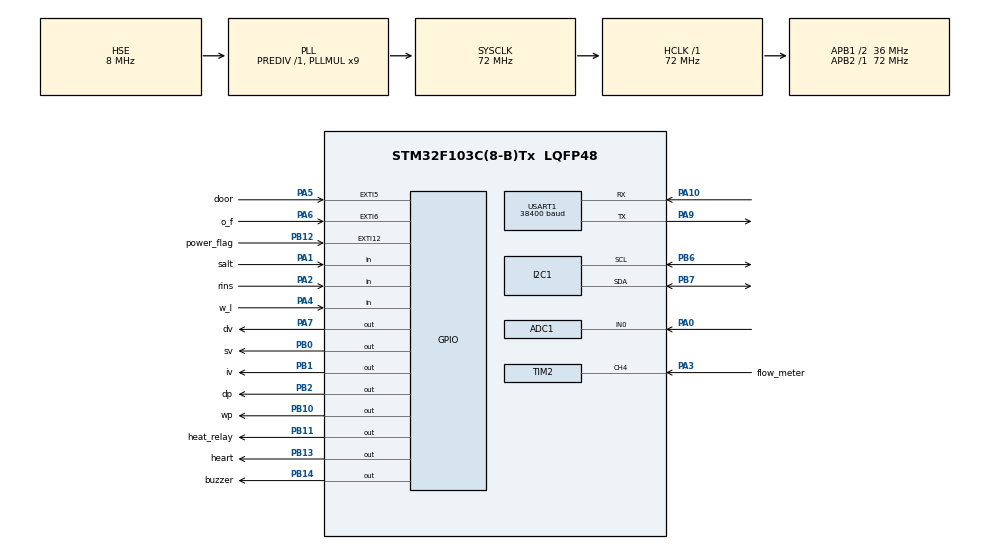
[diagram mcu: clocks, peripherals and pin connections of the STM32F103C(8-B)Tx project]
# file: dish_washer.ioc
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ADC1.Channel-3\#ChannelRegularConversion=ADC_CHANNEL_0
ADC1.ContinuousConvMode=ENABLE
ADC1.NbrOfConversion=1
ADC1.NbrOfConversionFlag=1
ADC1.Rank-3\#ChannelRegularConversion=1
ADC1.SamplingTime-3\#ChannelRegularConversion=ADC_SAMPLETIME_1CYCLE_5
ADC1.master=1
Mcu.Family=STM32F1
Mcu.Name=STM32F103C(8-B)Tx
Mcu.Package=LQFP48
NVIC.EXTI15_10_IRQn=true\:0\:0\:false\:false\:true\:true\:true
NVIC.EXTI9_5_IRQn=true\:0\:0\:false\:false\:true\:true\:true
NVIC.PriorityGroup=NVIC_PRIORITYGROUP_4
NVIC.TIM1_UP_IRQn=true\:0\:0\:false\:false\:true\:true\:true
NVIC.TIM2_IRQn=true\:0\:0\:false\:false\:true\:true\:true
NVIC.TIM3_IRQn=true\:0\:0\:false\:false\:true\:true\:true
NVIC.TIM4_IRQn=true\:0\:0\:false\:false\:true\:true\:true
NVIC.USART1_IRQn=true\:0\:0\:false\:false\:true\:true\:true
PA0-WKUP.Signal=ADCx_IN0
PA1.GPIO_Label=salt
PA1.Signal=GPIO_Input
PA10.Mode=Asynchronous
PA10.Signal=USART1_RX
PA13.Mode=Serial_Wire
PA13.Signal=SYS_JTMS-SWDIO
PA14.Mode=Serial_Wire
PA14.Signal=SYS_JTCK-SWCLK
PA2.GPIO_Label=rins
PA2.Signal=GPIO_Input
PA3.GPIO_Label=flow_meter
PA3.Signal=S_TIM2_CH4
PA4.GPIO_Label=w_l
PA4.GPIO_PuPd=GPIO_PULLUP
PA4.Signal=GPIO_Input
PA5.GPIO_Label=door
PA5.Signal=GPXTI5
PA6.GPIO_Label=o_f
PA6.GPIO_ModeDefaultEXTI=GPIO_MODE_IT_FALLING
PA6.GPIO_PuPd=GPIO_PULLUP
PA6.Signal=GPXTI6
PA7.GPIO_Label=dv
PA7.Signal=GPIO_Output
PA9.Mode=Asynchronous
PA9.Signal=USART1_TX
PB0.GPIO_Label=sv
PB0.Signal=GPIO_Output
PB1.GPIO_Label=iv
PB1.Signal=GPIO_Output
PB10.GPIO_Label=wp
PB10.Signal=GPIO_Output
PB11.GPIO_Label=heat_relay
PB11.Signal=GPIO_Output
PB12.GPIO_Label=power_flag
PB12.GPIO_ModeDefaultEXTI=GPIO_MODE_IT_RISING
PB12.GPIO_PuPd=GPIO_PULLUP
PB12.Signal=GPXTI12
PB13.GPIO_Label=heart
PB13.Signal=GPIO_Output
PB14.GPIO_Label=buzzer
PB14.Signal=GPIO_Output
PB2.GPIO_Label=dp
PB2.Signal=GPIO_Output
PB6.Mode=I2C
PB6.Signal=I2C1_SCL
PB7.Mode=I2C
PB7.Signal=I2C1_SDA
PD0-OSC_IN.Mode=HSE-External-Oscillator
PD0-OSC_IN.Signal=RCC_OSC_IN
PD1-OSC_OUT.Mode=HSE-External-Oscillator
PD1-OSC_OUT.Signal=RCC_OSC_OUT
ProjectManager.HeapSize=0x200
ProjectManager.StackSize=0x400
ProjectManager.TargetToolchain=MDK-ARM V5
RCC.ADCPresc=RCC_ADCPCLK2_DIV6
RCC.AHBFreq_Value=72000000
RCC.APB1CLKDivider=RCC_HCLK_DIV2
RCC.APB1Freq_Value=36000000
RCC.APB1TimFreq_Value=72000000
RCC.APB2Freq_Value=72000000
RCC.APB2TimFreq_Value=72000000
RCC.HCLKFreq_Value=72000000
RCC.PLLMUL=RCC_PLL_MUL9
RCC.PLLSourceVirtual=RCC_PLLSOURCE_HSE
RCC.SYSCLKFreq_VALUE=72000000
RCC.SYSCLKSource=RCC_SYSCLKSOURCE_PLLCLK
RCC.USBFreq_Value=72000000
SH.ADCx_IN0.0=ADC1_IN0,IN0
SH.S_TIM2_CH4.0=TIM2_CH4,Input_Capture4_from_TI4
TIM1.Period=5000
TIM1.Prescaler=7200
TIM2.Channel-Input_Capture4_from_TI4=TIM_CHANNEL_4
TIM3.Period=100
TIM3.Prescaler=7200
TIM4.Period=100
TIM4.Prescaler=720
USART1.BaudRate=38400
USART1.VirtualMode=VM_ASYNC
VP_TIM1_VS_ClockSourceINT.Mode=Internal
VP_TIM3_VS_ClockSourceINT.Mode=Internal
VP_TIM4_VS_ClockSourceINT.Mode=Internal
board=custom

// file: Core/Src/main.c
/* USER CODE BEGIN Header */
/**
  ******************************************************************************
  * @file           : main.c
  * @brief          : Main program body
  ******************************************************************************
  * @attention
  *
  * <h2><center>&copy; Copyright (c) 2021 STMicroelectronics.
  * All rights reserved.</center></h2>
  *
  * This software component is licensed by ST under BSD 3-Clause license,
  * the "License"; You may not use this file except in compliance with the
  * License. You may obtain a copy of the License at:
  *                        opensource.org/licenses/BSD-3-Clause
  *
  ******************************************************************************
  */
/* USER CODE END Header */
#include "main.h"
#include "adc.h"
#include "i2c.h"
#include "tim.h"
#include "usart.h"
#include "gpio.h"

/* USER CODE BEGIN PD */
#define buffer_size 100
#define eeprom_read_address 0xA0
#define eeprom_write_address 0xA0
#define flow_time_limit     120 //sec
#define temp_rise_time_limit 10 //min

#define Pred_Time_1 2*60+49
#define Pred_Time_2 2*60+58
#define Pred_Time_3 2*60+27
#define Pred_Time_4 1*60
#define Pred_Time_5 36
#define Pred_Time_6 11
#define NumOfTimers 5
#define FlowPulsesReq 3000
/* USER CODE END PD */

/* USER CODE BEGIN PV */
uint16_t Pred_Time[6]={Pred_Time_1,Pred_Time_2,Pred_Time_3,Pred_Time_4,Pred_Time_5,Pred_Time_6};
uint8_t SavedInformation[20];
uint16_t temp_arr[1];
int flow_meter_count, door, o_f;
uint8_t rec_data[1];
uint8_t inputSerial[64];
int level, count, sizes, checksum, LM, CounterParser;
uint8_t Data_Sending[64];
int Count_Send;
uint16_t adc_buffer[buffer_size];
float adc_avg_buffer[4];
int adc_count;
float sum_adc;
float adc_temp;
int tim3_flag, tim4_flag;
int level_work;
float temp;
int door_count, o_f_count;
struct {
  int counter_value;
  int counter_Enable;
} counters[NumOfTimers];
int counter, counter_flag, counter_1,counter_flag_1,counter_2,counter_flag_2,fcn_done;
int temp_offset;
struct serial_com_info
{
	int req;
	int grant;
	int status;
	int value;
}test_mode,main_mode,power_off,start_info,selecting_button,pill,Timer,WhaterHardness;
struct Error_st
{
	int opened_door_e1;
	int inlet_water_e2;
	int drain_alarm_e3;
	int sensor_alarm_e4;
	int overflow_e5;
	int water_leackge_e6;
	int heater_alarm_e7;
} Error;
int o_f_flag,o_f_time,o_f_count_flag;
int reset_device_req;
int reset_errors_req;
uint8_t done_flag_1;
uint8_t done_flag_2;
int WashingTime;
int buzzer_flag;
int buzzer_flag_count;
int Seg_Value;
int washing_state,dry_state,mode_done,wait_flag,wait_time;
int limit=20;
int pwr,pwr_1,pwr_2,max_pwr;
/* USER CODE END PV */

void SystemClock_Config(void);
/* USER CODE BEGIN PFP */
void send_to_display(void);
void protocolParser(void);
void sendProtocol(UART_HandleTypeDef *huart, uint8_t command, uint8_t *Input_Data, uint8_t inSize);
float adc_sort(uint16_t *adc_arr, int size);
float adc2temp(float x);
uint8_t test_fcn(int n);
void reset_all(void);
void checking_main_errors(void);
int error_handle_task(void);
void reset_errors(void);
int num_of_error(void);
int get_water_level(void);
int get_over_flow_status(void);
int get_door_status(void);
void convert_data(void);
void init_config(void);
void Calc_Temp(void);
uint8_t TakeTheWater(int FlowMeterPulsesRequired,int TimeOut,int TimerNum,int Error_Checking);
uint8_t TakeTheDispenser(int TimeOut,int TimerNum);
uint8_t DoTheWashing(int TimeOut,int TimerNum);
uint8_t BringTheWaterTemperatureToTheSpecifiedValue(int TempSetPoint,int TimeOut,int TimerNum);
uint8_t DrainTheWater(int TimeOut,int TimerNum);
uint8_t AddSaltWater(int TimeOut,int TimerNum);
uint8_t GenerateBuzzerSound(int NumOfSounds,int TimerNum);
uint8_t Wait(int TimeOut,int TimerNum);
void StartTimer(int TimerNum);
void StopTimer(int TimerNum);
void ResetTimer(int TimerNum);
int GetTimerValue(int TimerNum);
int GetTimerCount(int TimerNum);
void OpenInletValve(void);
void CloseInletValve(void);
void OpenDispenserValve(void);
void CloseDispenserValve(void);
void OpenSaltValve(void);
void CloseSaltValve(void);
void TurnOnTheWashingPump(void);
void TurnOffTheWashingPump(void);
void TurnOnHeater(void);
void TurnOffHeater(void);
void TurnOnTheDrainPump(void);
void TurnOffTheDrainPump(void);
float GetWaterTemp(void);
void TurnOnBuzzer(void);
void TurnOffBuzzer(void);
void ResetTimers(void);
void ProcessMain(int ProgramNum);
void beep(void);
void SetTimeValue(int TimerNum,int SetTimeValue);
void main_program_1(void);
void main_program_2(void);
void main_program_3(void);
void main_program_4(void);
void main_program_5(void);
void main_program_6(void);
/* USER CODE END PFP */

int main(void)
{

  /* MCU Configuration--------------------------------------------------------*/

  /* Reset of all peripherals, Initializes the Flash interface and the Systick. */
  HAL_Init();

  /* Configure the system clock */
  SystemClock_Config();

  /* Initialize all configured peripherals */
  MX_GPIO_Init();
  MX_ADC1_Init();
  MX_I2C1_Init();
  MX_USART1_UART_Init();
  MX_TIM3_Init();
  MX_TIM4_Init();
  MX_TIM2_Init();
  MX_TIM1_Init();
  /* USER CODE BEGIN 2 */
	init_config();
  /* USER CODE END 2 */

  /* Infinite loop */
  /* USER CODE BEGIN WHILE */
  while (1)
  {
		if(Error.opened_door_e1 && get_door_status())
		{
			Error.opened_door_e1=0;
			wait_flag=1;
		}
    if(Timer.status && (start_info.status==1))
    {
      wait_flag=2;
      if(Wait(60*60,1))
      {
				Timer.value--;
      }
			if(Timer.value==0)
			{
				Timer.status=0;
        wait_flag=0;
				ResetTimer(3);
			}
    }
		checking_main_errors();
		reset_device_req=error_handle_task();
		if(reset_errors_req)
			reset_errors();
		if(num_of_error()==0)
		{
			if(test_mode.status)
			{
				if(start_info.status==1)
					if(fcn_done==0)
						if(test_fcn(test_mode.value))
							fcn_done=1;
				if(selecting_button.status && selecting_button.grant==0)
				{
					if(test_mode.value!=selecting_button.value)
						fcn_done=0;
					reset_all();
					ResetTimers();
					test_mode.value=selecting_button.value;
					selecting_button.status=0;
				}
			}
			else if(main_mode.status)
			{
				Seg_Value=Pred_Time[main_mode.value-1]-GetTimerValue(3)/60;
				if(start_info.status==1)
				{
					if(get_door_status()==0)
					{
						Error.opened_door_e1=1;
					}
					if(wait_flag==0)
						ProcessMain(main_mode.value);
				}
				else if(start_info.status==0)
				{
					reset_all();
				}
				else if(start_info.status==2)
				{
					reset_all();
					//level_work=0;
				}
				if(selecting_button.status && selecting_button.grant==0)
				{
					Timer.status=0;
					Timer.value=0;
					main_mode.value=selecting_button.value;
					selecting_button.status=0;
					level_work=0;
					mode_done=0;
				}
		}
	}
  if(CounterParser>0)
  {
    protocolParser();
    convert_data();
    CounterParser--;
  }

  if (tim3_flag)
  {
    Calc_Temp();
    tim3_flag = 0;
  }
	if(buzzer_flag)
	{
		beep();
		buzzer_flag=0;
	}
    /* USER CODE END WHILE */

  }
}

void SystemClock_Config(void)
{
  RCC_OscInitTypeDef RCC_OscInitStruct = {0};
  RCC_ClkInitTypeDef RCC_ClkInitStruct = {0};
  RCC_PeriphCLKInitTypeDef PeriphClkInit = {0};

  /** Initializes the RCC Oscillators according to the specified parameters
  * in the RCC_OscInitTypeDef structure.
  */
  RCC_OscInitStruct.OscillatorType = RCC_OSCILLATORTYPE_HSE;
  RCC_OscInitStruct.HSEState = RCC_HSE_ON;
  RCC_OscInitStruct.HSEPredivValue = RCC_HSE_PREDIV_DIV1;
  RCC_OscInitStruct.HSIState = RCC_HSI_ON;
  RCC_OscInitStruct.PLL.PLLState = RCC_PLL_ON;
  RCC_OscInitStruct.PLL.PLLSource = RCC_PLLSOURCE_HSE;
  RCC_OscInitStruct.PLL.PLLMUL = RCC_PLL_MUL9;
  if (HAL_RCC_OscConfig(&RCC_OscInitStruct) != HAL_OK)
  {
    Error_Handler();
  }
  /** Initializes the CPU, AHB and APB buses clocks
  */
  RCC_ClkInitStruct.ClockType = RCC_CLOCKTYPE_HCLK|RCC_CLOCKTYPE_SYSCLK
                              |RCC_CLOCKTYPE_PCLK1|RCC_CLOCKTYPE_PCLK2;
  RCC_ClkInitStruct.SYSCLKSource = RCC_SYSCLKSOURCE_PLLCLK;
  RCC_ClkInitStruct.AHBCLKDivider = RCC_SYSCLK_DIV1;
  RCC_ClkInitStruct.APB1CLKDivider = RCC_HCLK_DIV2;
  RCC_ClkInitStruct.APB2CLKDivider = RCC_HCLK_DIV1;

  if (HAL_RCC_ClockConfig(&RCC_ClkInitStruct, FLASH_LATENCY_2) != HAL_OK)
  {
    Error_Handler();
  }
  PeriphClkInit.PeriphClockSelection = RCC_PERIPHCLK_ADC;
  PeriphClkInit.AdcClockSelection = RCC_ADCPCLK2_DIV6;
  if (HAL_RCCEx_PeriphCLKConfig(&PeriphClkInit) != HAL_OK)
  {
    Error_Handler();
  }
}

/* USER CODE BEGIN 4 */
void HAL_TIM_PeriodElapsedCallback(TIM_HandleTypeDef *htim)
{
  if (htim == &htim1)
  {
		send_to_display();
    HAL_GPIO_TogglePin(heart_GPIO_Port, heart_Pin);

    for(int i=0;i<NumOfTimers;i++)
    {
      if(counters[i].counter_Enable==1)
        counters[i].counter_value++;
      else if(counters[i].counter_Enable==-1 || counters[i].counter_Enable==255)
        counters[i].counter_Enable=0;

    }
		if(buzzer_flag_count<2)
			buzzer_flag_count++;
    counters[2].counter_Enable=(counters[0].counter_Enable==1) || (counters[1].counter_Enable==1);
		if(wait_flag)
			wait_time++;
		if(wait_time>=10 && wait_flag==1)
		{
			wait_flag=0;
			wait_time=0;
		}
  }
  if (htim == &htim3)
  {
		if(o_f_flag)
			o_f_time++;
		o_f_count_flag=1;
		if(o_f_time>=20)
		{
			o_f=o_f_count>8;
			o_f_flag=(o_f)?1:0;
			o_f_time=0;
			o_f_count=0;
		}

    if (door_count < 26)
      door_count++;

    if (door_count < 20 )
      door = 1;
    else
      door = 0;

    tim3_flag = 1;
  }
	if(htim == &htim4)
	{
		pwr_1++;
		pwr_2+=HAL_GPIO_ReadPin(power_flag_GPIO_Port,power_flag_Pin);
		if(pwr_1>=40)
		{
			pwr_1=0;
			pwr=pwr_2;
			pwr_2=0;
			if(pwr>=35)
			{
				if(main_mode.status==1)
				{
					SavedInformation[0]=main_mode.status;
					SavedInformation[1]=main_mode.value;
					SavedInformation[2]=start_info.status;
					SavedInformation[3]=level_work;
					SavedInformation[4]=counters[2].counter_value;
					SavedInformation[5]=counters[2].counter_value>>8;
					SavedInformation[6]=counters[0].counter_value;
					SavedInformation[7]=counters[0].counter_value>>8;
					SavedInformation[8]=flow_meter_count;
					SavedInformation[9]=flow_meter_count>>8;
					SavedInformation[10]=WhaterHardness.status;
					HAL_I2C_Mem_Write(&hi2c1,eeprom_write_address,8,I2C_MEMADD_SIZE_16BIT,SavedInformation,11,HAL_MAX_DELAY);
				}
			}
		}
	}
}
void HAL_TIM_IC_CaptureCallback(TIM_HandleTypeDef *htim)
{
  if (htim == &htim2)
    flow_meter_count++;
}
void HAL_UART_RxCpltCallback(UART_HandleTypeDef *huart)
{
  if (huart == &huart1)
  {
    inputSerial[count] = rec_data[0];
    if (inputSerial[0] == 0x5A && level == 0)
    {
      count++;
      if (count > 1)
        level = 1;
    }
    else if (inputSerial[0] != 0x5A && level == 0)
    {
      count = 0;
      level = 0;
    }
    else if (level == 1 && inputSerial[1] == 0xA5)
    {
      count++;
      if (count > 2)
        level = 2;
    }
    else if (level == 1 && inputSerial[1] != 0xA5)
    {
      count = 0;
      level = 0;
    }
    else if (level == 2)
    {
      sizes = inputSerial[3] + 5;
      if (sizes < 32 && sizes > 0)
      {
        count++;
        if (count > 3)
          level = 3;
      }
      else
      {
        count = 0;
        level = 0;
        sizes = 0;
      }
    }
    else if (level == 3)
      count++;
    if (count == sizes && level == 3)
    {
      checksum = 0;
      for (LM = 2; LM < (sizes - 1); LM++)
        checksum += inputSerial[LM];
      if (checksum == inputSerial[sizes - 1])
      {
        CounterParser++;
      }
      else
      {
        for (LM = 0; LM < sizes; LM++)
          inputSerial[LM] = 0;
      }
      count = 0;
      level = 0;
      sizes = 0;
    }
    HAL_UART_Receive_IT(&huart1, rec_data, 1);
  }
}
void HAL_GPIO_EXTI_Callback(uint16_t GPIO_Pin)
{
  if (GPIO_Pin == door_Pin)
  {
    door_count = 0;
  }
  if (GPIO_Pin == o_f_Pin)
  {
		if(o_f_count_flag)
			o_f_count++;
		o_f_count_flag=0;
		o_f_flag=1;
  }
}
void sendProtocol(UART_HandleTypeDef *huart, uint8_t command, uint8_t *Input_Data, uint8_t inSize)
{
  uint8_t Send_Serial[64], m, size;
  size = inSize + 5;
  Send_Serial[0] = 0x5A;
  Send_Serial[1] = 0xA5;
  Send_Serial[2] = command;
  Send_Serial[3] = inSize;
  Send_Serial[4 + inSize] = Send_Serial[2] + Send_Serial[3];
  for (m = 0; m < inSize; m++)
  {
    Send_Serial[4 + m] = Input_Data[m];
    Send_Serial[4 + inSize] += Input_Data[m];
  }
  HAL_UART_Transmit(huart, Send_Serial, size, 200);
}
void send_to_display(void)
{
	Data_Sending[Count_Send++] = test_mode.grant;
	Data_Sending[Count_Send++] = test_mode.status;
	Data_Sending[Count_Send++] = test_mode.value;
	Data_Sending[Count_Send++] = main_mode.grant;
	Data_Sending[Count_Send++] = main_mode.status;
	Data_Sending[Count_Send++] = main_mode.value;
	Data_Sending[Count_Send++] = power_off.grant;
	Data_Sending[Count_Send++] = power_off.status;
	Data_Sending[Count_Send++] = start_info.grant;
	Data_Sending[Count_Send++] = start_info.status;
	Data_Sending[Count_Send++] = selecting_button.grant;
	Data_Sending[Count_Send++] = selecting_button.status;
	Data_Sending[Count_Send++] = num_of_error();
	Data_Sending[Count_Send++] = Seg_Value;
  Data_Sending[Count_Send++] = HAL_GPIO_ReadPin(rins_GPIO_Port, rins_Pin);
  Data_Sending[Count_Send++] = HAL_GPIO_ReadPin(salt_GPIO_Port, salt_Pin);
	Data_Sending[Count_Send++] = washing_state;
	Data_Sending[Count_Send++] = dry_state;
  Data_Sending[Count_Send++] = mode_done;
  Data_Sending[Count_Send++] = Timer.grant;
  Data_Sending[Count_Send++] = Timer.status;
  Data_Sending[Count_Send++] = Timer.value;
  Data_Sending[Count_Send++] = WhaterHardness.grant;
  Data_Sending[Count_Send++] = WhaterHardness.status;
  Data_Sending[Count_Send++] = temp;

  sendProtocol(&huart1, 0, Data_Sending, Count_Send);
  Count_Send = 0;
  test_mode.grant=0;
	main_mode.grant=0;
	power_off.grant=0;
	start_info.grant=0;
	selecting_button.grant=0;
  Timer.grant=0;
  WhaterHardness.grant=0;
}
void protocolParser(void)
{
	int index=4;
	test_mode.req=inputSerial[index++];
	main_mode.req=inputSerial[index++];
	power_off.req=inputSerial[index++];
	power_off.value=inputSerial[index++];
	start_info.req=inputSerial[index++];
	start_info.value=inputSerial[index++];
	selecting_button.req=inputSerial[index++];
	selecting_button.value=inputSerial[index++];
	pill.req=inputSerial[index++];
  Timer.req=inputSerial[index++];
  WhaterHardness.req=inputSerial[index++];
  WhaterHardness.value=inputSerial[index++];
}
float adc_sort(uint16_t *adc_arr, int size)
{
  int arr_i, arr_j;
  for (arr_i = 0; arr_i < size - 1; arr_i++)
  {
    for (arr_j = 0; arr_j < size - arr_i - 1; arr_j++)
    {
      if (adc_arr[arr_j] > adc_arr[arr_j + 1])
      {
        adc_arr[arr_j] = adc_arr[arr_j] + adc_arr[arr_j + 1];
        adc_arr[arr_j + 1] = adc_arr[arr_j] - adc_arr[arr_j + 1];
        adc_arr[arr_j] = adc_arr[arr_j] - adc_arr[arr_j + 1];
      }
    }
  }
  return (adc_arr[size / 2 - 2] + adc_arr[size / 2 - 1] + adc_arr[size / 2 - 0] + adc_arr[size / 2 + 1]) * 0.25;
}
float adc2temp(float x)
{
  return 0.0163 * x + 7.8059 + temp_offset;
}
uint8_t test_fcn(int n)
{
	if(get_door_status()==0)
	{
		Error.opened_door_e1=1;
	}
	else
		Error.opened_door_e1=0;
	if(num_of_error()==0)
	{
    switch (n)
    {
    case 9:
      return TakeTheWater(FlowPulsesReq,flow_time_limit,1,1);
      break;
    case 8:
      return TakeTheDispenser(3,1);
      break;
    case 7:
      return DoTheWashing(30,1);
      break;
    case 6:
      return BringTheWaterTemperatureToTheSpecifiedValue(60,temp_rise_time_limit,1);
      break;
    case 5:
      return DrainTheWater(30,1);
      break;
    case 4:
      return TakeTheWater(FlowPulsesReq,flow_time_limit,1,1);
      break;
    case 3:
      return DoTheWashing(10,1);
      break;
    case 2:
      return AddSaltWater(90,1);
      break;
    case 1:
      return DrainTheWater(30,1);
      break;
    case 0:
    return GenerateBuzzerSound(2,1);
      break;
    default:
      return 0;
      break;
    }
  }
}
void reset_all(void)
{
  CloseInletValve();
  CloseDispenserValve();
  TurnOffTheDrainPump();
  TurnOffTheWashingPump();
  CloseSaltValve();
	StopTimer(1);
  StopTimer(2);
}
void ResetTimers(void)
{
	ResetTimer(1);
	ResetTimer(2);
}
void checking_main_errors(void)
{
	if(get_door_status() && get_over_flow_status()==1){
		Error.overflow_e5=1;
	}

	if(temp>80)
	{
		Error.sensor_alarm_e4=1;
	}

}
int error_handle_task(void)
{
	int ans=0;
	if(Error.opened_door_e1 || Error.inlet_water_e2 || Error.drain_alarm_e3 || Error.overflow_e5 || Error.sensor_alarm_e4 || Error.water_leackge_e6 || Error.heater_alarm_e7)
	{
		beep();
		reset_all();
		ans=1;
	}
	return (Error.overflow_e5 || Error.sensor_alarm_e4);
}
int num_of_error(void)
{
	if(Error.overflow_e5)
		return 5;
	if(Error.sensor_alarm_e4)
		return 4;
	if(Error.opened_door_e1)
		return 1;
	if(Error.inlet_water_e2)
		return 2;
	if(Error.drain_alarm_e3)
		return 3;
	if(Error.water_leackge_e6)
		return 6;
	if(Error.heater_alarm_e7)
		return 7;
	return 0;
}
void reset_errors(void)
{
	Error.drain_alarm_e3=0;
	Error.heater_alarm_e7=0;
	Error.inlet_water_e2=0;
	Error.water_leackge_e6=0;
	reset_errors_req=0;
}
int get_water_level(void)
{
	return (!HAL_GPIO_ReadPin(w_l_GPIO_Port,w_l_Pin));
}
int get_over_flow_status(void)
{
	return o_f;
}
int get_door_status(void)
{
	return door;
}
void convert_data(void)
{
	if(test_mode.req)
	{
		if(buzzer_flag_count==2)
		{
			buzzer_flag=1;
			buzzer_flag_count=0;
		}
		test_mode.status=1;
		test_mode.grant=1;
		test_mode.req=0;
	}
	if(main_mode.req)
	{
		if(buzzer_flag_count==2)
		{
			buzzer_flag=2;
			buzzer_flag_count=0;
		}
		main_mode.status=1;
		main_mode.grant=1;
		main_mode.req=0;
	}
	if(power_off.req)
	{
		if(buzzer_flag_count==2)
		{
			buzzer_flag=3;
			buzzer_flag_count=0;
		}
		power_off.status=power_off.value;
		power_off.grant=1;
		power_off.req=0;
		if(power_off.status)
		{
			test_mode.status=0;
			main_mode.status=0;
			start_info.status=0;
      Timer.status=0;
      Timer.value=0;
			washing_state=0;
			main_mode.value=2;
      level_work=0;
			reset_all();
			reset_errors();
			Error.opened_door_e1=0;
      ResetTimer(3);
		}
	}
	if(start_info.req)
	{
		if(buzzer_flag_count==2)
		{
			buzzer_flag=4;
			buzzer_flag_count=0;
		}
		start_info.status=start_info.value;
		start_info.grant=1;
		start_info.req=0;
		reset_errors();
	}
	if(selecting_button.req)
	{
		if(buzzer_flag_count==2)
		{
			buzzer_flag=5;
			buzzer_flag_count=0;
		}
		selecting_button.status=1;
		selecting_button.grant=1;
		selecting_button.req=0;
	}
  if(Timer.req)
  {
    if(buzzer_flag_count==2)
		{
			buzzer_flag=6;
			buzzer_flag_count=0;
      if(Timer.value<24)
      {
        Timer.status=1;
        Timer.value++;
      }
      else
      {
        Timer.status=0;
        Timer.value=0;
      }
		}
    Timer.grant=1;
    Timer.req=0;
  }
  if(WhaterHardness.req)
  {
    if(buzzer_flag_count==2)
		{
			buzzer_flag=7;
			buzzer_flag_count=0;
      WhaterHardness.status=WhaterHardness.value;
			SavedInformation[10]=WhaterHardness.status;
			HAL_I2C_Mem_Write(&hi2c1,eeprom_write_address,8,I2C_MEMADD_SIZE_16BIT,SavedInformation,11,HAL_MAX_DELAY);
    }
    WhaterHardness.grant=1;
    WhaterHardness.req=0;
  }
}
void init_config(void)
{
	HAL_I2C_Mem_Read(&hi2c1,eeprom_read_address,8,I2C_MEMADD_SIZE_16BIT,SavedInformation,20,HAL_MAX_DELAY);
	if(SavedInformation[0]==1)
	{
		main_mode.status          =  SavedInformation[0];
		main_mode.value           =  SavedInformation[1];
		start_info.status         =  SavedInformation[2];
		level_work                =  SavedInformation[3];
		counters[2].counter_value =  SavedInformation[4]+SavedInformation[5]*256;
		counters[0].counter_value =  SavedInformation[6]+SavedInformation[7]*256;
    flow_meter_count          =  SavedInformation[8]+SavedInformation[9]*256;
		for(int i=0;i<20;i++)
		{
			SavedInformation[i]=0;
		}
		HAL_Delay(10);
		HAL_I2C_Mem_Write(&hi2c1,eeprom_write_address,8,I2C_MEMADD_SIZE_16BIT,SavedInformation,20,HAL_MAX_DELAY);
	}
	else
	{
		main_mode.value=2;
		power_off.status=1;
		start_info.status=0;
	}
	if(SavedInformation[10]>=1 && SavedInformation[10]<=8)
		WhaterHardness.status=SavedInformation[10];
	else
		WhaterHardness.status=5;
	power_off.grant=1;
	start_info.grant=1;
	selecting_button.grant=1;
	Timer.grant=1;
	Timer.status=0;
	test_mode.grant=1;
	main_mode.grant=1;
	test_mode.value=9;
	HAL_ADC_Start(&hadc1);
  HAL_TIM_IC_Start_IT(&htim2, TIM_CHANNEL_4);
  HAL_TIM_Base_Start_IT(&htim3);
  HAL_TIM_Base_Start_IT(&htim4);
  HAL_TIM_Base_Start_IT(&htim1);
	HAL_UART_Receive_IT(&huart1, rec_data, 1);
	beep();
}
void Calc_Temp(void)
{
	sum_adc += HAL_ADC_GetValue(&hadc1);
	adc_count++;
	if (adc_count >= buffer_size)
	{
		adc_temp = sum_adc * 0.01;
		temp = adc2temp(adc_temp);
		adc_count = 0;
		sum_adc = 0;
	}
}
void ProcessMain(int ProgramNum)
{
  switch(ProgramNum)
    {
      case 1:
        main_program_1();
      break;
      case 2:
        main_program_2();
      break;
      case 3:
        main_program_3();
      break;
      case 4:
        main_program_4();
      break;
      case 5:
				main_program_5();
      break;
      case 6:
        main_program_6();
      break;
    }
}
void main_program_1(void)
{
  washing_state=(level_work!=-1) &&  (level_work<21) ;
  dry_state=(level_work>=21) && (level_work<35);
  if(level_work==0)
  {
    washing_state=1;
    StartTimer(3);
    if(Wait(10,1))
    {
      level_work=1;
    }
  }
  else if(level_work==1)
  {
    if(DrainTheWater(30,1))
    {
      level_work=2;
    }
  }
  else if(level_work==2)
  {
    switch(TakeTheWater(FlowPulsesReq,flow_time_limit,1,0))
    {
      case 1:
        level_work=3;
        break;
      case 2:
        level_work=-2;
        break;
    }
  }
  else if(level_work==-2)
  {
    if(DrainTheWater(30,4))
    {
      level_work=-3;
    }
  }
  else if(level_work==-3)
  {
    if(Wait(3*60,4))
    {
      level_work=-4;
    }
  }
  else if(level_work==-4)
  {
    switch(TakeTheWater(FlowPulsesReq,flow_time_limit,4,1))
    {
      case 1:
        level_work=3;
        break;
      case 2:
        break;
    }
  }
  else if(level_work==3)
  {
    if(DoTheWashing(10,1))
    {
      level_work=4;
      WashingTime=14*60-GetTimerValue(3);
    }
  }
  else if(level_work==4)
  {
    if(WashingTime==0)
    {
      WashingTime=14*60-GetTimerValue(3);
      ResetTimer(1);
    }
    if(BringTheWaterTemperatureToTheSpecifiedValue(40,WashingTime,1))
    {
      level_work=5;
      SetTimeValue(3,14*60);
      WashingTime=0;
    }
  }
  else if(level_work==5)
  {
    if(DoTheWashing(5*60,1))
    {
      level_work=6;
    }
  }
  else if(level_work==6)
  {
    if(DrainTheWater(30,1))
    {
      level_work=7;
    }
  }
  else if(level_work==7)
  {
    switch(TakeTheWater(FlowPulsesReq,flow_time_limit,1,0))
    {
      case 1:
        level_work=8;
        break;
      case 2:
        level_work=-7;
        break;
    }
  }
  else if(level_work==-7)
  {
    if(DrainTheWater(30,4))
    {
      level_work=-8;
    }
  }
  else if(level_work==-8)
  {
    if(Wait(3*60,4))
    {
      level_work=-9;
    }
  }
  else if(level_work==-9)
  {
    switch(TakeTheWater(FlowPulsesReq,flow_time_limit,4,1))
    {
      case 1:
        level_work=8;
        break;
      case 2:
        break;
    }
  }
  else if(level_work==8)
  {
    if(DoTheWashing(10,1))
    {
      level_work=9;
      WashingTime=20*60-(GetTimerValue(3)-(5+14)*60);
    }
  }
  else if(level_work==9)
  {
    if(WashingTime==0)
    {
      WashingTime=20*60-(GetTimerValue(3)-(5+14)*60);
      SetTimeValue(2,GetTimerValue(1));
      ResetTimer(1);
    }
    if(done_flag_1==0)
      done_flag_1=BringTheWaterTemperatureToTheSpecifiedValue(60,WashingTime,1);
    if(done_flag_2==0)
      done_flag_2=TakeTheDispenser(90,2);
    if(done_flag_1 && done_flag_2)
    {
      level_work=10;
      SetTimeValue(3,(14+5+20)*60);
      done_flag_2=0;
      done_flag_1=0;
      WashingTime=0;
    }
  }
  else if(level_work==10)
  {
    if(DoTheWashing(35*60,1))
    {
      level_work=11;
    }
  }
 else if(level_work==11)
  {
    if(DrainTheWater(30,1))
    {
      level_work=12;
    }
  }
  else if(level_work==12)
  {
    switch(TakeTheWater(FlowPulsesReq,flow_time_limit,1,0))
    {
      case 1:
        level_work=13;
        WashingTime=7*60-(GetTimerValue(3)-(35+20+5+14)*60);
        break;
      case 2:
        level_work=-12;
        break;
    }
  }
  else if(level_work==-12)
  {
    if(DrainTheWater(30,4))
    {
      level_work=-13;
    }
  }
  else if(level_work==-13)
  {
    if(Wait(3*60,4))
    {
      level_work=-14;
    }
  }
  else if(level_work==-14)
  {
    switch(TakeTheWater(FlowPulsesReq,flow_time_limit,4,1))
    {
      case 1:
        level_work=13;
        WashingTime=7*60-(GetTimerValue(3)-(35+20+5+14)*60);
        break;
      case 2:
        break;
    }
  }
  else if(level_work==13)
  {
    if(WashingTime==0)
    {
      ResetTimer(1);
      WashingTime=7*60-(GetTimerValue(3)-(35+20+5+14)*60);
    }
    if(DoTheWashing(WashingTime,1))
    {
      level_work=14;
      WashingTime=0;
    }
  }
  else if(level_work==14)
  {
    if(DrainTheWater(30,1))
    {
      level_work=15;
    }
  }
  else if(level_work==15)
  {
    switch(TakeTheWater(FlowPulsesReq,flow_time_limit,1,0))
    {
      case 1:
        level_work=16;
        WashingTime=7*60-(GetTimerValue(3)-(7+35+20+5+14)*60);
        break;
      case 2:
        level_work=-15;
        break;
    }
  }
  else if(level_work==-15)
  {
    if(DrainTheWater(30,4))
    {
      level_work=-16;
    }
  }
  else if(level_work==-16)
  {
    if(Wait(3*60,4))
    {
      level_work=-17;
    }
  }
  else if(level_work==-17)
  {
    switch(TakeTheWater(FlowPulsesReq,flow_time_limit,4,1))
    {
      case 1:
        level_work=16;
        WashingTime=7*60-(GetTimerValue(3)-(7+35+20+5+14)*60);
        break;
      case 2:
        break;
    }
  }
  else if(level_work==16)
  {
    if(WashingTime==0)
    {
      ResetTimer(1);
      WashingTime=7*60-(GetTimerValue(3)-(7+35+20+5+14)*60);
    }
    if(DoTheWashing(WashingTime,1))
    {
      level_work=17;
      WashingTime=0;
    }
  }
  else if(level_work==17)
  {
    if(DrainTheWater(30,1))
    {
      level_work=18;
    }
  }
  else if(level_work==18)
  {
    switch(TakeTheWater(FlowPulsesReq,flow_time_limit,1,0))
    {
      case 1:
        level_work=19;
        break;
      case 2:
        level_work=-18;
        break;
    }
  }
  else if(level_work==-18)
  {
    if(DrainTheWater(30,4))
    {
      level_work=-19;
    }
  }
  else if(level_work==-19)
  {
    if(Wait(3*60,4))
    {
      level_work=-20;
    }
  }
  else if(level_work==-20)
  {
    switch(TakeTheWater(FlowPulsesReq,flow_time_limit,4,1))
    {
      case 1:
        level_work=19;
        break;
      case 2:
        break;
    }
  }
  else if(level_work==19)
  {
    if(DoTheWashing(10,1))
    {
      level_work=20;
      WashingTime=23*60-(GetTimerValue(3)-(7+7+35+20+5+14)*60);
    }
  }
  else if(level_work==20)
  {
    if(WashingTime==0)
    {
      ResetTimer(1);
      WashingTime=23*60-(GetTimerValue(3)-(7+7+35+20+5+14)*60);
    }
    if(BringTheWaterTemperatureToTheSpecifiedValue(65,WashingTime,1))
    {
      level_work=21;
      SetTimeValue(3,(23+7+7+35+20+5+14)*60);
      WashingTime=0;
    }
  }
  else if(level_work==21)
  {
    if(DoTheWashing(1*60,1))
    {
      level_work=22;
      washing_state=0;
      dry_state=1;
    }
  }
  else if(level_work==22)
  {
    if(Wait(30,1))
    {
      level_work=23;
    }
  }
  else if(level_work==23)
  {
    if(DrainTheWater(30,1))
    {
      level_work=24;
    }
  }
  else if(level_work==24)
  {
    if(Wait(2*60+30,1))
    {
      level_work=25;
    }
  }
  else if(level_work==25)
  {
    if(DrainTheWater(30,1))
    {
      level_work=26;
    }
  }
  else if(level_work==26)
  {
    if(Wait(11*60+30,1))
    {
      level_work=27;
    }
  }
  else if(level_work==27)
  {
    if(DrainTheWater(30,1))
    {
      level_work=28;
    }
  }
  else if(level_work==28)
  {
    if(Wait(20*60+30,1))
    {
      level_work=29;
    }
  }
  else if(level_work==29)
  {
    if(DrainTheWater(30,1))
    {
      level_work=30;
    }
  }
  else if(level_work==30)
  {
    if(Wait(19*60+30,1))
    {
      level_work=31;
    }
  }
  else if(level_work==31)
  {
    if(DrainTheWater(30,1))
    {
      level_work=32;
    }
  }
    else if(level_work==32)
  {
    if(Wait(1*60,1))
    {
      level_work=33;
    }
  }
  else if(level_work==33)
  {
    if(DrainTheWater(60,1))
    {
      level_work=34;
    }
  }
  else if(level_work==34)
  {
    mode_done=1;
    if(GenerateBuzzerSound(4,1))
    {
      dry_state=0;
      level_work=-1;
      start_info.status=0;
			ResetTimer(3);
    }
  }
}
void main_program_2(void)
{
  washing_state=(level_work!=-1) &&  (level_work<13) ;
  dry_state=(level_work>=13) && (level_work<26);
  if(level_work==0)
  {
    washing_state=1;
    StartTimer(3);
    if(Wait(10,1))
    {
      level_work=1;
    }
  }
  else if(level_work==1)
  {
    if(DrainTheWater(30,1))
    {
      level_work=2;
    }
  }
  else if(level_work==2)
  {
    switch(TakeTheWater(FlowPulsesReq,flow_time_limit,1,0))
    {
      case 1:
        level_work=3;
	      WashingTime=26*60-GetTimerValue(3);
        break;
      case 2:
        level_work=-2;
        break;
    }
  }
    else if(level_work==-2)
    {
      if(DrainTheWater(30,4))
      {
        level_work=-3;
      }
    }
    else if(level_work==-3)
    {
      if(Wait(3*60,4))
      {
        level_work=-4;
      }
    }
    else if(level_work==-4)
    {
      switch(TakeTheWater(FlowPulsesReq,flow_time_limit,4,1))
      {
        case 1:
          level_work=3;
	        WashingTime=26*60-GetTimerValue(3);
          break;
        case 2:
          break;
      }
    }
  else if(level_work==3)
  {
    if(WashingTime==0)
    {
      WashingTime=26*60-GetTimerValue(3);
      ResetTimer(1);
    }
    if(DoTheWashing(WashingTime,1))
    {
      level_work=4;
      WashingTime=0;
    }
  }
  else if(level_work==4)
  {
    if(DrainTheWater(30,1))
    {
      level_work=5;
    }
  }
  else if(level_work==5)
  {
    switch(TakeTheWater(FlowPulsesReq,flow_time_limit,1,0))
    {
      case 1:
        level_work=6;
        break;
      case 2:
        level_work=-5;
        break;
    }
  }
    else if(level_work==-5)
    {
      if(DrainTheWater(30,4))
      {
        level_work=-6;
      }
    }
    else if(level_work==-6)
    {
      if(Wait(3*60,4))
      {
        level_work=-7;
      }
    }
    else if(level_work==-7)
    {
      switch(TakeTheWater(FlowPulsesReq,flow_time_limit,4,1))
      {
        case 1:
          level_work=6;
          break;
        case 2:
          break;
      }
  }
  else if(level_work==6)
  {
    if(DoTheWashing(10,1))
    {
      level_work=7;
      WashingTime=18*60-(GetTimerValue(3)-26*60);
    }
  }
  else if(level_work==7)
  {
    if(WashingTime==0)
    {
      WashingTime=18*60-(GetTimerValue(3)-26*60);
      SetTimeValue(2,GetTimerValue(1));
      ResetTimer(1);
    }
    if(done_flag_1==0)
      done_flag_1=BringTheWaterTemperatureToTheSpecifiedValue(45,WashingTime,1);
    if(done_flag_2==0)
      done_flag_2=TakeTheDispenser(90,2);
    if(done_flag_1 && done_flag_2)
    {
      level_work=8;
      SetTimeValue(3,(18+26)*60);
      done_flag_2=0;
      done_flag_1=0;
      WashingTime=0;
    }
  }
  else if(level_work==8)
  {
    if(DoTheWashing(60*60,1))
    {
      level_work=9;
    }
  }
   else if(level_work==9)
  {
    if(DrainTheWater(30,1))
    {
      level_work=10;
    }
  }

  else if(level_work==10)
  {
    switch(TakeTheWater(FlowPulsesReq,flow_time_limit,1,0))
    {
      case 1:
        level_work=11;
        break;
      case 2:
        level_work=-10;
        break;
    }
  }
    else if(level_work==-10)
    {
      if(DrainTheWater(30,4))
      {
        level_work=-11;
      }
    }
    else if(level_work==-11)
    {
      if(Wait(3*60,4))
      {
        level_work=-12;
      }
    }
    else if(level_work==-12)
    {
      switch(TakeTheWater(FlowPulsesReq,flow_time_limit,4,1))
      {
        case 1:
          level_work=11;
          break;
        case 2:
          break;
      }
  }
  else if(level_work==11)
  {
    if(DoTheWashing(10,1))
    {
      level_work=12;
      WashingTime=16*60-(GetTimerValue(3)-(60+18+26)*60);
    }
  }
  else if(level_work==12)
  {
    if(WashingTime==0)
    {
      WashingTime=16*60-(GetTimerValue(3)-(60+18+26)*60);
      ResetTimer(1);
    }
    if(BringTheWaterTemperatureToTheSpecifiedValue(60,WashingTime,1))
    {
      level_work=13;
      SetTimeValue(3,(16+60+18+26)*60);
      WashingTime=0;
    }
  }
  else if(level_work==13)
  {
    if(DoTheWashing(1*60,1))
    {
      level_work=14;
      washing_state=0;
      dry_state=1;
    }
  }
  else if(level_work==14)
  {
    if(DrainTheWater(30,1))
    {
      level_work=15;
    }
  }
  else if(level_work==15)
  {
    if(Wait(2*60+30,1))
    {
      level_work=16;
    }
  }
  else if(level_work==16)
  {
    if(DrainTheWater(30,1))
    {
      level_work=17;
    }
  }
  else if(level_work==17)
  {
    if(Wait(11*60+30,1))
    {
      level_work=18;
    }
  }
  else if(level_work==18)
  {
    if(DrainTheWater(30,1))
    {
      level_work=19;
    }
  }
  else if(level_work==19)
  {
    if(Wait(20*60+30,1))
    {
      level_work=20;
    }
  }
  else if(level_work==20)
  {
    if(DrainTheWater(30,1))
    {
      level_work=21;
    }
  }
  else if(level_work==21)
  {
    if(Wait(19*60+30,1))
    {
      level_work=22;
    }
  }
  else if(level_work==22)
  {
    if(DrainTheWater(30,1))
    {
      level_work=23;
    }
  }
  else if(level_work==23)
  {
    if(Wait(1*60,1))
    {
      level_work=24;
    }
  }
  else if(level_work==24)
  {
    if(DrainTheWater(60,1))
    {
      level_work=25;
    }
  }
  else if(level_work==25)
  {
    mode_done=1;
    if(GenerateBuzzerSound(4,1))
    {
      dry_state=0;
      level_work=-1;
      start_info.status=0;
			ResetTimer(3);
    }
  }
}
void main_program_3(void)
{
  washing_state=(level_work!=-1) &&  (level_work<17) ;
  dry_state=(level_work>=17) && (level_work<25);
  if(level_work==0)
  {
    washing_state=1;
    StartTimer(3);
    if(Wait(10,1))
    {
      level_work=1;
    }
  }
  else if(level_work==1)
  {
    if(DrainTheWater(30,1))
    {
      level_work=2;
    }
  }
  else if(level_work==2)
  {
    switch(TakeTheWater(FlowPulsesReq,flow_time_limit,1,0))
    {
      case 1:
        level_work=3;
         WashingTime=11*60-GetTimerValue(3);
        break;
      case 2:
        level_work=-2;
        break;
    }
  }
    else if(level_work==-2)
    {
      if(DrainTheWater(30,4))
      {
        level_work=-3;
      }
    }
    else if(level_work==-3)
    {
      if(Wait(3*60,4))
      {
        level_work=-4;
      }
    }
    else if(level_work==-4)
    {
      switch(TakeTheWater(FlowPulsesReq,flow_time_limit,4,1))
      {
        case 1:
          level_work=3;
          WashingTime=11*60-GetTimerValue(3);
          break;
        case 2:
          break;
      }
    }
  else if(level_work==3)
  {
    if(WashingTime==0)
    {
      WashingTime=11*60-GetTimerValue(3);
      ResetTimer(1);
    }
    if(DoTheWashing(WashingTime,1))
    {
      level_work=4;
      WashingTime=0;
    }
  }
  else if(level_work==4)
  {
    if(DrainTheWater(30,1))
    {
      level_work=5;
    }
  }
  else if(level_work==5)
  {
    switch(TakeTheWater(FlowPulsesReq,flow_time_limit,1,0))
    {
      case 1:
        level_work=6;
        break;
      case 2:
        level_work=-5;
        break;
    }
  }
    else if(level_work==-5)
    {
      if(DrainTheWater(30,4))
      {
        level_work=-6;
      }
    }
    else if(level_work==-6)
    {
      if(Wait(3*60,4))
      {
        level_work=-7;
      }
    }
    else if(level_work==-7)
    {
      switch(TakeTheWater(FlowPulsesReq,flow_time_limit,4,1))
      {
        case 1:
          level_work=6;
          break;
        case 2:
          break;
      }
    }
  else if(level_work==6)
  {
    if(DoTheWashing(10,1))
    {
      level_work=7;
      WashingTime=17*60-(GetTimerValue(3)-11*60);
    }
  }
  else if(level_work==7)
  {
    if(WashingTime==0)
    {
      WashingTime=17*60-(GetTimerValue(3)-11*60);
      SetTimeValue(2,GetTimerValue(1));
      ResetTimer(1);
    }
    if(done_flag_1==0)
      done_flag_1=BringTheWaterTemperatureToTheSpecifiedValue(45,WashingTime,1);
    if(done_flag_2==0)
      done_flag_2=TakeTheDispenser(90,2);
    if(done_flag_1 && done_flag_2)
    {
      level_work=8;
      SetTimeValue(3,(17+11)*60);
      done_flag_2=0;
      done_flag_1=0;
      WashingTime=0;
    }
  }
  else if(level_work==8)
  {
    if(DoTheWashing(40*60,1))
    {
      level_work=9;
    }
  }
  else if(level_work==9)
  {
    if(DrainTheWater(30,1))
    {
      level_work=10;
    }
  }
  else if(level_work==10)
  {
    switch(TakeTheWater(FlowPulsesReq,flow_time_limit,1,0))
    {
      case 1:
        level_work=12;
	      WashingTime=4*60-(GetTimerValue(3)-(40+17+11)*60);
        break;
      case 2:
        level_work=-10;
        break;
    }
  }
    else if(level_work==-10)
    {
      if(DrainTheWater(30,4))
      {
        level_work=-11;
      }
    }
    else if(level_work==-11)
    {
      if(Wait(3*60,4))
      {
        level_work=-12;
      }
    }
    else if(level_work==-12)
    {
      switch(TakeTheWater(FlowPulsesReq,flow_time_limit,4,1))
      {
        case 1:
          level_work=12;
	        WashingTime=4*60-(GetTimerValue(3)-(40+17+11)*60);
          break;
        case 2:
          break;
      }
  }
  else if(level_work==12)
  {
    if(WashingTime==0)
    {
      WashingTime=4*60-(GetTimerValue(3)-(40+17+11)*60);
      ResetTimer(1);
    }
    if(DoTheWashing(WashingTime,1))
    {
      level_work=13;
      WashingTime=0;
    }
  }
  else if(level_work==13)
  {
    if(DrainTheWater(30,1))
    {
      level_work=14;
    }
  }
  else if(level_work==14)
  {
    switch(TakeTheWater(FlowPulsesReq,flow_time_limit,1,0))
    {
      case 1:
        level_work=15;
        break;
      case 2:
        level_work=-14;
        break;
    }
  }
    else if(level_work==-14)
    {
      if(DrainTheWater(30,4))
      {
        level_work=-15;
      }
    }
    else if(level_work==-15)
    {
      if(Wait(3*60,4))
      {
        level_work=-16;
      }
    }
    else if(level_work==-16)
    {
      switch(TakeTheWater(FlowPulsesReq,flow_time_limit,4,1))
      {
        case 1:
          level_work=15;
          break;
        case 2:
          break;
      }
  }
  else if(level_work==15)
  {
    if(DoTheWashing(10,1))
    {
      level_work=16;
      WashingTime=16*60-(GetTimerValue(3)-(4+40+17+11)*60);
    }
  }
  else if(level_work==16)
  {
    if(WashingTime==0)
    {
      WashingTime=16*60-(GetTimerValue(3)-(4+40+17+11)*60);
      ResetTimer(1);
    }
    if(BringTheWaterTemperatureToTheSpecifiedValue(55,WashingTime,1))
    {
      level_work=17;
      SetTimeValue(3,(16+4+40+17+11)*60);
      WashingTime=0;
    }
  }
  else if(level_work==17)
  {
    if(DoTheWashing(1*60,1))
    {
      level_work=18;
      washing_state=0;
      dry_state=1;
    }
  }
  else if(level_work==18)
  {
    if(Wait(2*60+30,1))
    {
      level_work=19;
    }
  }
  else if(level_work==19)
  {
    if(DrainTheWater(30,1))
    {
      level_work=20;
    }
  }
  else if(level_work==20)
  {
    if(Wait(32*60+30,1))
    {
      level_work=21;
    }
  }
  else if(level_work==21)
  {
    if(DrainTheWater(30,1))
    {
      level_work=22;
    }
  }
    else if(level_work==22)
  {
    if(Wait(21*60,1))
    {
      level_work=23;
    }
  }
  else if(level_work==23)
  {
    if(DrainTheWater(60,1))
    {
      level_work=24;
    }
  }
  else if(level_work==24)
  {
    mode_done=1;
    if(GenerateBuzzerSound(4,1))
    {
      dry_state=0;
      level_work=-1;
      start_info.status=0;
			ResetTimer(3);
    }
  }

}
void main_program_4(void)
{
  washing_state=(level_work!=-1) &&  (level_work<15) ;
  dry_state=(level_work>=15) && (level_work<19);
  if(level_work==0)
  {
    StartTimer(3);
    if(Wait(10,1))
    {
      level_work=1;
    }
  }
  else if(level_work==1)
  {
    if(DrainTheWater(30,1))
    {
      level_work=2;
    }
  }
  else if(level_work==2)
  {
    switch(TakeTheWater(FlowPulsesReq,flow_time_limit,1,0))
    {
      case 1:
        level_work=3;
        break;
      case 2:
        level_work=-2;
        break;
    }
  }
    else if(level_work==-2)
    {
      if(DrainTheWater(30,4))
      {
        level_work=-3;
      }
    }
    else if(level_work==-3)
    {
      if(Wait(3*60,4))
      {
        level_work=-4;
      }
    }
    else if(level_work==-4)
    {
      switch(TakeTheWater(FlowPulsesReq,flow_time_limit,4,1))
      {
        case 1:
          level_work=3;
          break;
        case 2:
          break;
      }
    }
  else if(level_work==3)
  {
    if(DoTheWashing(10,1))
    {
      level_work=4;
      WashingTime=18*60-GetTimerValue(3);
    }
  }
  else if(level_work==4)
  {
    if(WashingTime==0)
    {
      WashingTime=18*60-GetTimerValue(3);
      ResetTimer(1);
    }
    if(BringTheWaterTemperatureToTheSpecifiedValue(50,WashingTime,1))
    {
      level_work=5;
      SetTimeValue(3,18*60);
      WashingTime=0;
    }
  }
  else if(level_work==5)
  {
    if(DoTheWashing(5*60,1))
    {
      level_work=6;
    }
  }
  else if(level_work==6)
  {
    if(DrainTheWater(30,1))
    {
      level_work=7;
    }
  }
  else if(level_work==7)
  {
    switch(TakeTheWater(FlowPulsesReq,flow_time_limit,1,0))
    {
      case 1:
        level_work=8;
        break;
      case 2:
        level_work=-7;
        break;
    }
  }
    else if(level_work==-7)
    {
      if(DrainTheWater(30,4))
      {
        level_work=-8;
      }
    }
    else if(level_work==-8)
    {
      if(Wait(3*60,4))
      {
        level_work=-9;
      }
    }
    else if(level_work==-9)
    {
      switch(TakeTheWater(FlowPulsesReq,flow_time_limit,4,1))
      {
        case 1:
          level_work=8;
          break;
        case 2:
          break;
      }
  }

  else if(level_work==8)
  {
    if(DoTheWashing(10,1))
    {
      level_work=9;
      WashingTime=10*60-(GetTimerValue(3)-23*60);
    }
  }
  else if(level_work==9)
  {
    if(WashingTime==0)
    {
      WashingTime=10*60-(GetTimerValue(3)-23*60);
      SetTimeValue(2,GetTimerValue(1));
      ResetTimer(1);
    }
    if(done_flag_1==0)
      done_flag_1=BringTheWaterTemperatureToTheSpecifiedValue(40,WashingTime,1);
    if(done_flag_2==0)
      done_flag_2=TakeTheDispenser(90,2);
    if(done_flag_1 && done_flag_2)
    {
      level_work=10;
      SetTimeValue(3,(18+5+10)*60);
      done_flag_2=0;
      done_flag_1=0;
      WashingTime=0;
    }
  }
  else if(level_work==10)
  {
    if(DoTheWashing(5*60,1))
    {
      level_work=11;
    }
  }
  else if(level_work==11)
  {
    if(DrainTheWater(30,1))
    {
      level_work=12;
    }
  }
  else if(level_work==12)
  {
    switch(TakeTheWater(FlowPulsesReq,flow_time_limit,1,0))
    {
      case 1:
        level_work=13;
        break;
      case 2:
        level_work=-12;
        break;
    }
  }
    else if(level_work==-12)
    {
      if(DrainTheWater(30,4))
      {
        level_work=-13;
      }
    }
    else if(level_work==-13)
    {
      if(Wait(3*60,4))
      {
        level_work=-14;
      }
    }
    else if(level_work==-14)
    {
      switch(TakeTheWater(FlowPulsesReq,flow_time_limit,4,1))
      {
        case 1:
          level_work=13;
          break;
        case 2:
          break;
      }
  }

  else if(level_work==13)
  {
    if(DoTheWashing(10,1))
    {
      level_work=14;
      WashingTime=15*60-(GetTimerValue(3)-38*60);
    }
  }
  else if(level_work==14)
  {
    if(WashingTime==0)
    {
      WashingTime=15*60-(GetTimerValue(3)-38*60);
      ResetTimer(1);
    }
    if(BringTheWaterTemperatureToTheSpecifiedValue(60,WashingTime,1))
    {
      level_work=15;
      SetTimeValue(3,(15+5+10+5+18)*60);
      WashingTime=0;
    }
  }
  else if(level_work==15)
  {
    if(DoTheWashing(1*60,1))
    {
      level_work=16;
    }
  }
  else if(level_work==16)
  {
    if(Wait(5*60,1))
    {
      level_work=17;
    }
  }
  else if(level_work==17)
  {
    if(DrainTheWater(60,1))
    {
      level_work=18;
    }
  }
  else if(level_work==18)
  {
    mode_done=1;
    if(GenerateBuzzerSound(4,1))
    {
      dry_state=0;
      level_work=-1;
      start_info.status=0;
			ResetTimer(3);
    }
  }

  }
void main_program_5(void)
{
  washing_state=(level_work!=-1) &&  (level_work<13) ;
  if(level_work==0)
    {
      StartTimer(3);
      if(Wait(10,1))
      {
        level_work=1;
      }
    }
    else if(level_work==1)
    {
      if(DrainTheWater(30,1))
      {
        level_work=2;
      }
    }
    else if(level_work==2)
  {
    switch(TakeTheWater(FlowPulsesReq,flow_time_limit,1,0))
    {
      case 1:
        level_work=3;
        break;
      case 2:
        level_work=-2;
        break;
    }
  }
    else if(level_work==-2)
    {
      if(DrainTheWater(30,4))
      {
        level_work=-3;
      }
    }
    else if(level_work==-3)
    {
      if(Wait(3*60,4))
      {
        level_work=-4;
      }
    }
    else if(level_work==-4)
    {
      switch(TakeTheWater(FlowPulsesReq,flow_time_limit,4,1))
      {
        case 1:
          level_work=3;
          break;
        case 2:
          break;
      }
    }
    else if(level_work==3)
    {
      if(DoTheWashing(10,1))
      {
        level_work=4;
        WashingTime=14*60-GetTimerValue(3);
      }
    }
    else if(level_work==4)
    {
      if(WashingTime==0)
      {
        WashingTime=14*60-GetTimerValue(3);
        SetTimeValue(2,GetTimerValue(1));
        ResetTimer(1);
      }
      if(done_flag_1==0)
        done_flag_1=BringTheWaterTemperatureToTheSpecifiedValue(40,WashingTime,1);
      if(done_flag_2==0)
        done_flag_2=TakeTheDispenser(90,2);
      if(done_flag_1 && done_flag_2)
      {
        level_work=5;
        SetTimeValue(3,14*60);
        done_flag_2=0;
        done_flag_1=0;
        WashingTime=0;
      }
    }
    else if(level_work==5)
    {
      if(DoTheWashing(8*60,1))
      {
        level_work=6;
      }
    }
    else if(level_work==6)
    {
      if(DrainTheWater(30,1))
      {
        level_work=7;
      }
    }
    else if(level_work==7)
  {
    switch(TakeTheWater(FlowPulsesReq,flow_time_limit,1,0))
    {
      case 1:
        level_work=8;
        break;
      case 2:
        level_work=-7;
        break;
    }
  }
    else if(level_work==-7)
    {
      if(DrainTheWater(30,4))
      {
        level_work=-8;
      }
    }
    else if(level_work==-8)
    {
      if(Wait(3*60,4))
      {
        level_work=-9;
      }
    }
    else if(level_work==-9)
    {
      switch(TakeTheWater(FlowPulsesReq,flow_time_limit,4,1))
      {
        case 1:
          level_work=8;
          break;
        case 2:
          break;
      }
    }
    else if(level_work==8)
    {
      if(DoTheWashing(10,1))
      {
        level_work=9;
        WashingTime=11*60-(GetTimerValue(3)-22*60);
      }
    }
    else if(level_work==9)
    {
      if(WashingTime==0)
      {
        WashingTime=11*60-(GetTimerValue(3)-22*60);
        ResetTimer(1);
      }
      if(BringTheWaterTemperatureToTheSpecifiedValue(45,WashingTime,1))
      {
        level_work=10;
        SetTimeValue(3,(14+8+11)*60);
      }
    }
    else if(level_work==10)
    {
      if(DoTheWashing(2*60,1))
      {
        level_work=11;
      }
    }
    else if(level_work==11)
    {
      if(DrainTheWater(60,1))
      {
        level_work=12;
      }
    }
    else if(level_work==12)
    {

    mode_done=1;
    if(GenerateBuzzerSound(4,1))
      {
        washing_state=0;
        level_work=-1;
        start_info.status=0;
			  ResetTimer(3);
      }
  }
}
void main_program_6(void)
{
  washing_state=(level_work!=-1) &&  (level_work<6) ;
  if(level_work==0)
  {
    StartTimer(3);
    if(Wait(10,1))
    {
      level_work=1;
    }
  }
  else if(level_work==1)
  {
    if(DrainTheWater(30,1))
    {
      level_work=2;
    }
  }
  else if(level_work==2)
  {
    switch(TakeTheWater(FlowPulsesReq,flow_time_limit,1,0))
    {
      case 1:
        level_work=3;
        WashingTime=Pred_Time_6*60-GetTimerValue(3)-60;
        break;
      case 2:
        level_work=-2;
        break;
    }
  }
  else if(level_work==-2)
  {
    if(DrainTheWater(30,4))
    {
      level_work=-3;
    }
  }
  else if(level_work==-3)
  {
    if(Wait(3*60,4))
    {
      level_work=-4;
    }
  }
  else if(level_work==-4)
  {
    switch(TakeTheWater(FlowPulsesReq,flow_time_limit,4,1))
    {
      case 1:
        level_work=3;
        WashingTime=Pred_Time_6*60-GetTimerValue(3)-60;
        break;
      case 2:
        break;
    }
  }
  else if(level_work==3)
  {
		if(WashingTime==0)
    {
			WashingTime=Pred_Time_6*60-GetTimerValue(3)-60;
      ResetTimer(1);
    }
    if(DoTheWashing(WashingTime,1))
    {
      level_work=4;
			WashingTime=0;
    }
  }
  else if(level_work==4)
  {
    if(DrainTheWater(60,1))
    {
      level_work=5;
    }
  }
  else if(level_work==5)
  {
		mode_done=1;
    if(GenerateBuzzerSound(4,1))
    {
      washing_state=0;
      level_work=-1;
      start_info.status=0;
			ResetTimer(3);
    }
  }
}
uint8_t TakeTheWater(int FlowMeterPulsesRequired,int TimeOut,int TimerNum,int Error_Checking)
{
  if(get_door_status() && !get_over_flow_status())
  {
    if((flow_meter_count<FlowMeterPulsesRequired) || get_water_level()==0)
    {
      StartTimer(TimerNum);
      OpenInletValve();
      if(GetTimerValue(TimerNum)>=TimeOut)
      {
        if(Error_Checking)
          Error.inlet_water_e2=1;
				CloseInletValve();reset_all();
        ResetTimer(TimerNum);
        return 2;
      }
      return 0;
    }
    else if((flow_meter_count>=FlowMeterPulsesRequired) && get_water_level()==1)
    {
      ResetTimer(TimerNum);
      CloseInletValve();reset_all();
      return 1;
    }
    return 0;
  }
  else
  {
    StopTimer(TimerNum);
    reset_all();
  }
  return 0;
}
uint8_t TakeTheDispenser(int TimeOut,int TimerNum)
{
  if(get_door_status() && !get_over_flow_status())
  {
    if(GetTimerValue(TimerNum)<TimeOut)
    {
      StartTimer(TimerNum);
      OpenDispenserValve();
      return 0;
    }
    else
    {
      ResetTimer(TimerNum);
      CloseDispenserValve();reset_all();
      return 1;
    }
  }
  else
  {
    StopTimer(TimerNum);
    reset_all();
  }
  return 0;
}
uint8_t DoTheWashing(int TimeOut,int TimerNum)
{
  if(get_door_status() && !get_over_flow_status())
  {
    if(get_water_level() || 1)
    {
      StartTimer(TimerNum);
      TurnOnTheWashingPump();
      CloseInletValve();
      if(GetTimerValue(TimerNum)>=TimeOut)
      {
        ResetTimer(TimerNum);
        TurnOffTheWashingPump();reset_all();
        return 1;
      }
    }
    else
    {
      StopTimer(TimerNum);
      OpenInletValve();
    }
  }
  else
    reset_all();
  return 0;
}
uint8_t BringTheWaterTemperatureToTheSpecifiedValue(int TempSetPoint,int TimeOut,int TimerNum)
{
  if(get_door_status() && !get_over_flow_status())
  {
    if(get_water_level() || 1)
    {
      StartTimer(TimerNum);
      CloseInletValve();
      TurnOnTheWashingPump();
      TurnOnHeater();
      if(GetWaterTemp()>=TempSetPoint)
      {
        ResetTimer(TimerNum);
        TurnOffTheWashingPump();
        TurnOffHeater();reset_all();
        return 1;
      }
      else if(GetTimerValue(TimerNum)>=TimeOut)
      {
        Error.heater_alarm_e7=1;
      }
    }
    else
    {
      StopTimer(TimerNum);
      TurnOffHeater();
      OpenInletValve();
    }
  }
  else
  {
    reset_all();
  }
  return 0;
}
uint8_t DrainTheWater(int TimeOut,int TimerNum)
{
  if(get_door_status() && !get_over_flow_status())
  {
    StartTimer(TimerNum);
    if(GetTimerValue(TimerNum)<TimeOut)
    {
      TurnOnTheDrainPump();
    }
    else
    {
      if(!get_water_level())
      {
        TurnOffTheDrainPump();reset_all();
        flow_meter_count=0;
				ResetTimer(TimerNum);
        return 1;
      }
      else
      {
        Error.drain_alarm_e3=1;
        reset_all();
      }
    }
  }
  else
    reset_all();
  return 0;
}
uint8_t AddSaltWater(int TimeOut,int TimerNum)
{
  if(get_door_status() && !get_over_flow_status())
  {
    if(GetTimerValue(TimerNum)<TimeOut)
    {
      StartTimer(TimerNum);
      OpenSaltValve();
    }
    else
    {
      ResetTimer(TimerNum);
      CloseSaltValve();reset_all();
			return 1;
    }
  }
  else
    reset_all();
  return 0;
}
uint8_t GenerateBuzzerSound(int NumOfSounds,int TimerNum)
{
  uint8_t timer_count=GetTimerCount(TimerNum);
  if(timer_count<NumOfSounds*2)
  {
    StartTimer(TimerNum);
    if(timer_count%2==0)
      TurnOffBuzzer();
    else
      TurnOnBuzzer();
  }
  else
  {
    ResetTimer(TimerNum);
    TurnOffBuzzer();
    reset_all();
    return 1;
  }
  return 0;
}
uint8_t Wait(int TimeOut,int TimerNum)
{
  if(get_door_status() && !get_over_flow_status())
  {
    if(GetTimerValue(TimerNum)<TimeOut)
    {
      StartTimer(TimerNum);
    }
    else if(GetTimerValue(TimerNum)>=TimeOut)
    {
      ResetTimer(TimerNum);reset_all();
			return 1;
    }
  }
  else
    reset_all();
  return 0;
}
void StartTimer(int TimerNum)
{
  if(counters[TimerNum-1].counter_Enable==0)
    counters[TimerNum-1].counter_Enable=1;
}
void StopTimer(int TimerNum)
{
  if(counters[TimerNum-1].counter_Enable==1)
    counters[TimerNum-1].counter_Enable=0;
}
void ResetTimer(int TimerNum)
{
  counters[TimerNum-1].counter_Enable=-1;
  counters[TimerNum-1].counter_value=0;
}
int GetTimerValue(int TimerNum)
{
  return  counters[TimerNum-1].counter_value/2;
}
int GetTimerCount(int TimerNum)
{
  return  counters[TimerNum-1].counter_value;
}
float GetWaterTemp(void)
{
  return temp;
}
void OpenInletValve(void)
{
  HAL_GPIO_WritePin(iv_GPIO_Port,iv_Pin,GPIO_PIN_SET);
}
void CloseInletValve(void)
{
  HAL_GPIO_WritePin(iv_GPIO_Port,iv_Pin,GPIO_PIN_RESET);
}
void OpenDispenserValve(void)
{
  HAL_GPIO_WritePin(dv_GPIO_Port,dv_Pin,GPIO_PIN_SET);
}
void CloseDispenserValve(void)
{
  HAL_GPIO_WritePin(dv_GPIO_Port,dv_Pin,GPIO_PIN_RESET);
}
void OpenSaltValve(void)
{
  HAL_GPIO_WritePin(sv_GPIO_Port,sv_Pin,GPIO_PIN_SET);
}
void CloseSaltValve(void)
{
  HAL_GPIO_WritePin(sv_GPIO_Port,sv_Pin,GPIO_PIN_RESET);
}
void TurnOnTheWashingPump(void)
{
  HAL_GPIO_WritePin(wp_GPIO_Port,wp_Pin,GPIO_PIN_SET);
}
void TurnOffTheWashingPump(void)
{
  HAL_GPIO_WritePin(wp_GPIO_Port,wp_Pin,GPIO_PIN_RESET);
}
void TurnOnHeater(void)
{
  HAL_GPIO_WritePin(heat_relay_GPIO_Port,heat_relay_Pin,GPIO_PIN_SET);
}
void TurnOffHeater(void)
{
  HAL_GPIO_WritePin(heat_relay_GPIO_Port,heat_relay_Pin,GPIO_PIN_RESET);
}
void TurnOnTheDrainPump(void)
{
  HAL_GPIO_WritePin(dp_GPIO_Port,dp_Pin,GPIO_PIN_SET);
}
void TurnOffTheDrainPump(void)
{
  HAL_GPIO_WritePin(dp_GPIO_Port,dp_Pin,GPIO_PIN_RESET);
}
void TurnOnBuzzer(void)
{
  HAL_GPIO_WritePin(buzzer_GPIO_Port,buzzer_Pin,GPIO_PIN_SET);
}
void TurnOffBuzzer(void)
{
  HAL_GPIO_WritePin(buzzer_GPIO_Port,buzzer_Pin,GPIO_PIN_RESET);
}
void beep(void)
{
	TurnOnBuzzer();
	HAL_Delay(250);
	TurnOffBuzzer();
	HAL_Delay(250);
}
void SetTimeValue(int TimerNum,int SetTimeValue)
{
  counters[TimerNum-1].counter_value=SetTimeValue*2;
}
/* USER CODE END 4 */

void Error_Handler(void)
{
  __disable_irq();
  while (1)
  {
  }
}

/************************ (C) COPYRIGHT STMicroelectronics *****END OF FILE****/
